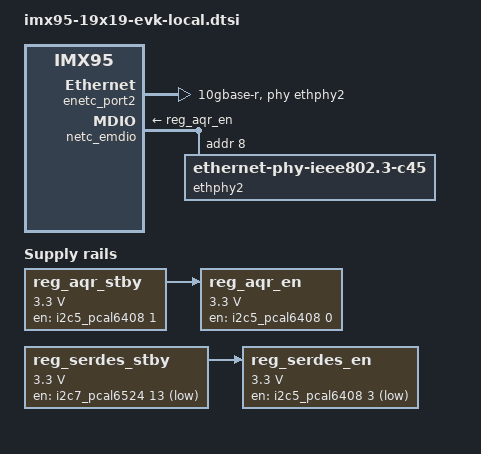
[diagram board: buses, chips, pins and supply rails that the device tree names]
// SPDX-License-Identifier: GPL-2.0+
/*
 * Copyright 2025 NXP
 */

#include <dt-bindings/usb/pd.h>

/ {
	aliases {
		ethernet1 = &enetc_port2;
		spi0 = &flexspi1;
		usb0 = &usb3_dwc3;
		usb1 = &usb2;
	};

	chosen {
		bootargs = "console=ttyLP0,115200 earlycon";
	};

	reg_aqr_stby: regulator-aqr-stby {
		compatible = "regulator-fixed";
		regulator-name = "aqr-stby";
		regulator-min-microvolt = <3300000>;
		regulator-max-microvolt = <3300000>;
		gpio = <&i2c5_pcal6408 1 GPIO_ACTIVE_HIGH>;
		enable-active-high;
	};

	reg_aqr_en: regulator-aqr-en {
		compatible = "regulator-fixed";
		regulator-name = "aqr-en";
		regulator-min-microvolt = <3300000>;
		regulator-max-microvolt = <3300000>;
		vin-supply = <&reg_aqr_stby>;
		gpio = <&i2c5_pcal6408 0 GPIO_ACTIVE_HIGH>;
		enable-active-high;
	};

	reg_serdes_stby: regulator-mac-stby {
		compatible = "regulator-fixed";
		regulator-name = "mac-stby";
		regulator-min-microvolt = <3300000>;
		regulator-max-microvolt = <3300000>;
		gpio = <&i2c7_pcal6524 13 GPIO_ACTIVE_LOW>;
	};

	reg_serdes_en: regulator-mac-en {
		compatible = "regulator-fixed";
		regulator-name = "mac-en";
		regulator-min-microvolt = <3300000>;
		regulator-max-microvolt = <3300000>;
		vin-supply = <&reg_serdes_stby>;
		gpio = <&i2c5_pcal6408 3 GPIO_ACTIVE_LOW>;
	};
};

&enetc_port2 {
	phy-handle = <&ethphy2>;
	phy-mode = "10gbase-r";
	serdes-supply = <&reg_serdes_en>;
	managed = "in-band-status";
	status = "okay";
};

&netc_emdio {
	phy-supply = <&reg_aqr_en>;

	ethphy2: ethernet-phy@8 {
		compatible = "ethernet-phy-ieee802.3-c45";
		reg = <8>;
	};
};
